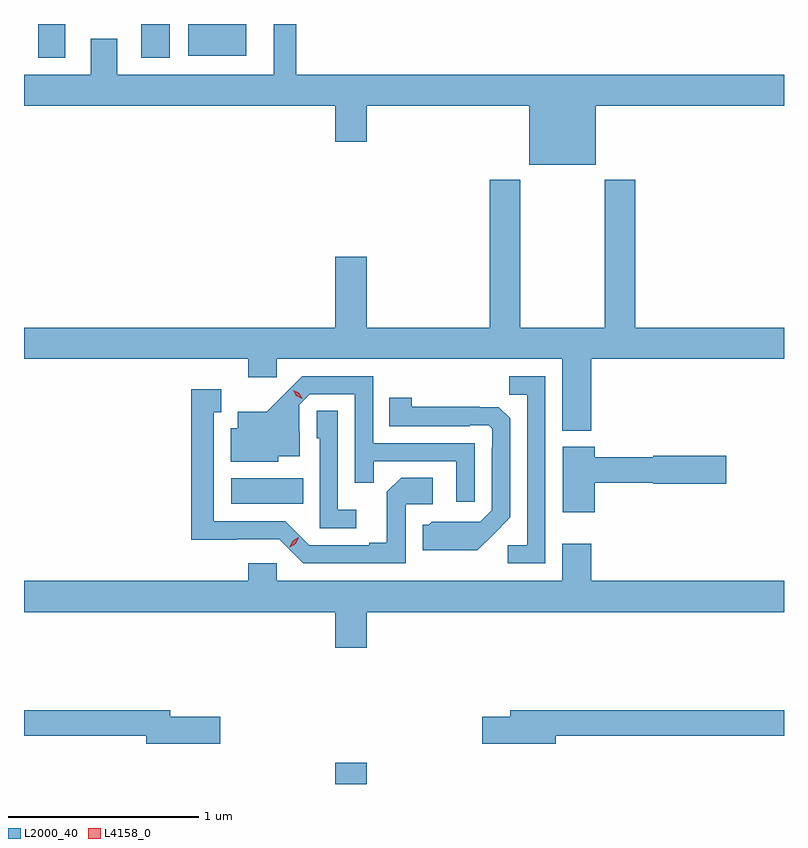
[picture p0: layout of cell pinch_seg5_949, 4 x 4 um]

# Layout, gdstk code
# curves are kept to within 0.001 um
import gdstk
lib = gdstk.Library(unit=1e-6, precision=1e-09)
def R(c, l, rs):  # rectangles x0, y0, x1, y1
    for r in rs: c.add(gdstk.rectangle(r[:2], r[2:], *l))
def P(c, l, *ps):  # polygons
    for p in ps: c.add(gdstk.Polygon(p, *l))
L2000_40 = (2000, 40)
L4158_0 = (4158, 0)

pinch_seg5_949 = lib.new_cell('pinch_seg5_949')
R(pinch_seg5_949, L2000_40, [(716.456,893.151,716.62,893.263), (715.908,894.626,716.288,894.76), (714.893,896.973,715.033,897.151), (715.433,896.973,715.585,897.151), (715.682,896.984,715.987,897.151)])
P(pinch_seg5_949, L2000_40, [(717.826,896.72),(718.817,896.72),(718.817,896.884),(716.249,896.884),(716.249,897.151),(716.132,897.151),(716.132,896.884),(715.309,896.884),(715.309,897.074),(715.169,897.074),(715.169,896.884),(714.817,896.884),(714.817,896.72),(716.456,896.72),(716.456,896.532),(716.62,896.532),(716.62,896.72),(717.476,896.72),(717.476,896.411),(717.826,896.411)],
  [(717.803,895.388),(718.817,895.388),(718.817,895.552),(718.034,895.552),(718.034,896.332),(717.874,896.332),(717.874,895.552),(717.429,895.552),(717.429,896.332),(717.269,896.332),(717.269,895.552),(716.62,895.552),(716.62,895.927),(716.456,895.927),(716.456,895.552),(714.817,895.552),(714.817,895.388),(715.997,895.388),(715.997,895.293),(716.148,895.293),(716.148,895.388),(717.65,895.388),(717.65,895.01),(717.803,895.01)],
  [(717.561,895.296),(717.37,895.296),(717.37,895.201),(717.465,895.201),(717.465,894.408),(717.363,894.408),(717.363,894.312),(717.561,894.312)],
  [(717.189,894.945),(716.655,894.945),(716.655,895.296),(716.282,895.296),(716.095,895.111),(715.943,895.111),(715.943,895.024),(715.904,895.024),(715.904,894.848),(716.154,894.848),(716.154,894.875),(716.269,894.875),(716.269,895.004),(716.265,895.004),(716.265,895.146),(716.322,895.203),(716.559,895.203),(716.559,894.736),(716.657,894.736),(716.657,894.849),(717.093,894.849),(717.093,894.636),(717.189,894.636)],
  [(716.826,894.624),(716.968,894.624),(716.968,894.764),(716.803,894.764),(716.727,894.688),(716.727,894.421),(716.633,894.421),(716.633,894.408),(716.319,894.408),(716.193,894.534),(715.816,894.534),(715.816,895.107),(715.855,895.107),(715.855,895.228),(715.698,895.228),(715.698,894.437),(716.16,894.438),(716.286,894.312),(716.826,894.312)],
  [(717.283,894.461),(717.375,894.554),(717.375,895.076),(717.316,895.135),(716.859,895.136),(716.859,895.183),(716.74,895.183),(716.74,895.035),(717.164,895.035),(717.164,895.038),(717.264,895.038),(717.282,895.02),(717.282,894.92),(717.279,894.92),(717.279,894.591),(717.219,894.531),(716.962,894.532),(716.946,894.516),(716.915,894.516),(716.915,894.38),(717.203,894.38)],
  [(716.566,894.595),(716.469,894.595),(716.469,895.115),(716.358,895.115),(716.358,894.972),(716.373,894.972),(716.373,894.498),(716.566,894.498)],
  [(717.82,894.736),(718.128,894.736),(718.128,894.731),(718.513,894.731),(718.513,894.878),(718.128,894.878),(718.128,894.872),(717.82,894.872),(717.82,894.925),(717.653,894.925),(717.653,894.582),(717.82,894.582)],
  [(716.62,894.056),(718.817,894.056),(718.817,894.22),(717.803,894.22),(717.803,894.415),(717.65,894.415),(717.65,894.22),(716.148,894.22),(716.148,894.313),(715.997,894.313),(715.997,894.22),(714.817,894.22),(714.817,894.056),(716.456,894.056),(716.456,893.868),(716.62,893.868)],
  [(715.849,893.504),(715.588,893.504),(715.588,893.54),(714.817,893.54),(714.817,893.404),(715.46,893.404),(715.46,893.362),(715.849,893.362)],
  [(717.616,893.404),(718.817,893.404),(718.817,893.54),(717.377,893.54),(717.377,893.504),(717.228,893.504),(717.228,893.362),(717.616,893.362)])
P(pinch_seg5_949, L4158_0, [(716.282,895.179),(716.251,895.194),(716.233,895.224),(716.233,895.224),(716.234,895.224),(716.264,895.209),(716.282,895.18),(716.282,895.179)],
  [(716.215,894.397),(716.215,894.398),(716.232,894.43),(716.264,894.449),(716.264,894.449),(716.264,894.449),(716.247,894.416),(716.215,894.397)])

lib.write_gds('pinch_seg5_949.gds')
